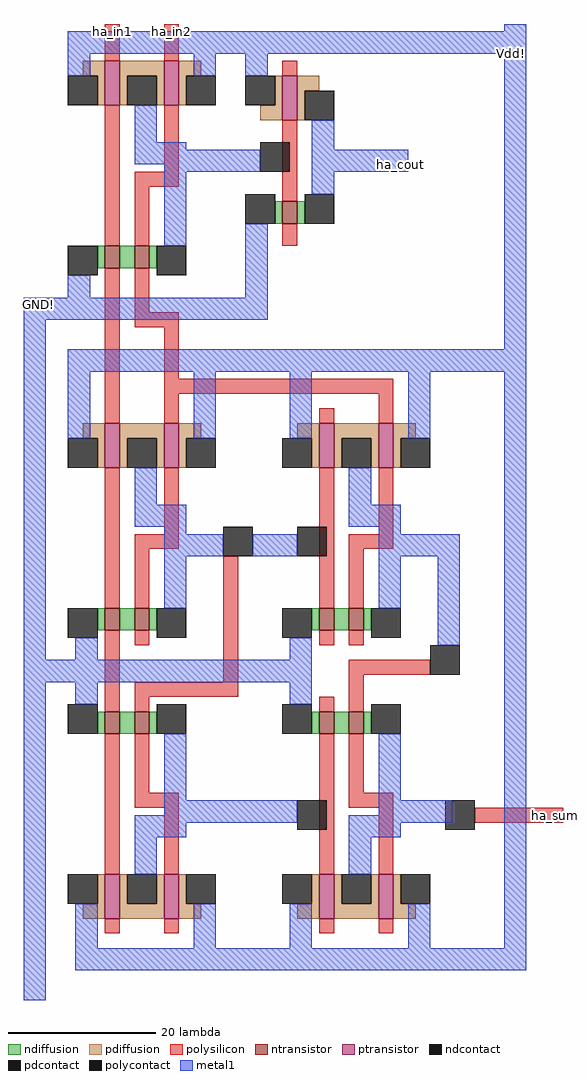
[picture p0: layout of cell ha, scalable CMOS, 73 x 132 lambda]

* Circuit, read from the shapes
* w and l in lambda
.subckt ha GND! Vdd! ha_cout ha_in1 ha_in2 ha_sum
M1 n1 ha_in1 GND! VSUBS nfet w=3 l=2
M2 n2 ha_in1 GND! VSUBS nfet w=3 l=2
M3 n3 ha_in1 GND! VSUBS nfet w=3 l=2
M4 xor2_0/nand2_4/nand_in1 xor2_0/nand2_2/nand_in1 n1 VSUBS nfet w=3 l=2
M5 xor2_0/nand2_2/nand_in1 ha_in2 n2 VSUBS nfet w=3 l=2
M6 nand2_0/nand_out ha_in2 n3 VSUBS nfet w=3 l=2
M7 ha_cout nand2_0/nand_out GND! VSUBS nfet w=3 l=2
M8 n4 xor2_0/nand2_4/nand_in1 GND! VSUBS nfet w=3 l=2
M9 n5 xor2_0/nand2_2/nand_in1 GND! VSUBS nfet w=3 l=2
M10 ha_sum xor2_0/nand2_4/nand_in2 n4 VSUBS nfet w=3 l=2
M11 xor2_0/nand2_4/nand_in2 ha_in2 n5 VSUBS nfet w=3 l=2
M12 xor2_0/nand2_4/nand_in1 ha_in1 Vdd! NWELL pfet w=6 l=2
M13 xor2_0/nand2_2/nand_in1 ha_in1 Vdd! NWELL pfet w=6 l=2
M14 nand2_0/nand_out ha_in1 Vdd! NWELL pfet w=6 l=2
M15 Vdd! xor2_0/nand2_2/nand_in1 xor2_0/nand2_4/nand_in1 NWELL pfet w=6 l=2
M16 Vdd! ha_in2 xor2_0/nand2_2/nand_in1 NWELL pfet w=6 l=2
M17 Vdd! ha_in2 nand2_0/nand_out NWELL pfet w=6 l=2
M18 ha_cout nand2_0/nand_out Vdd! NWELL pfet w=6 l=2
M19 ha_sum xor2_0/nand2_4/nand_in1 Vdd! NWELL pfet w=6 l=2
M20 xor2_0/nand2_4/nand_in2 xor2_0/nand2_2/nand_in1 Vdd! NWELL pfet w=6 l=2
M21 Vdd! xor2_0/nand2_4/nand_in2 ha_sum NWELL pfet w=6 l=2
M22 Vdd! ha_in2 xor2_0/nand2_4/nand_in2 NWELL pfet w=6 l=2
.ends

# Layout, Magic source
magic
tech scmos
<< polysilicon >>
rect 11 129 13 132
rect 19 129 21 132
rect 11 91 13 97
rect 15 93 17 97
rect 15 91 21 93
rect 61 24 73 26
<< metal1 >>
rect 65 131 68 132
rect 6 128 68 131
rect 6 125 9 128
rect 23 125 26 128
rect 30 125 33 128
rect 22 112 32 115
rect 42 112 52 115
rect 6 95 9 98
rect 30 95 33 105
rect 0 92 33 95
rect 0 0 3 92
rect 65 88 68 128
<< polycontact >>
rect 32 112 36 116
rect 57 23 61 27
use nand2 nand2_0
transform 1 0 50 0 1 105
box -44 -8 -24 24
use not1 not1_0
transform 1 0 35 0 1 112
box -5 -10 7 15
use xor2 xor2_0
transform 1 0 47 0 1 62
box -47 -62 21 29
<< labels >>
rlabel polysilicon 12 131 12 131 5 ha_in1
rlabel polysilicon 20 131 20 131 5 ha_in2
rlabel polysilicon 72 25 72 25 7 ha_sum
rlabel metal1 51 113 51 113 7 ha_cout
rlabel metal1 66 128 66 128 5 Vdd!
rlabel metal1 2 94 2 94 3 GND!
<< end >>

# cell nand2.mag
magic
tech scmos
<< polysilicon >>
rect -39 22 -37 24
rect -31 22 -29 24
rect -39 -3 -37 16
rect -31 7 -29 16
rect -35 5 -29 7
rect -35 -3 -33 5
rect -39 -8 -37 -6
rect -35 -8 -33 -6
<< ndiffusion >>
rect -40 -6 -39 -3
rect -37 -6 -35 -3
rect -33 -6 -32 -3
<< pdiffusion >>
rect -42 20 -39 22
rect -40 16 -39 20
rect -37 20 -31 22
rect -37 16 -36 20
rect -32 16 -31 20
rect -29 20 -26 22
rect -29 16 -28 20
<< metal1 >>
rect -35 11 -32 16
rect -35 8 -28 11
rect -31 -3 -28 8
<< ntransistor >>
rect -39 -6 -37 -3
rect -35 -6 -33 -3
<< ptransistor >>
rect -39 16 -37 22
rect -31 16 -29 22
<< ndcontact >>
rect -44 -7 -40 -3
rect -32 -7 -28 -3
<< pdcontact >>
rect -44 16 -40 20
rect -36 16 -32 20
rect -28 16 -24 20
<< labels >>
rlabel ndcontact -42 -5 -42 -5 4 GND!
rlabel pdcontact -42 18 -42 18 3 Vdd!
rlabel polysilicon -38 2 -38 2 1 nand_in1
rlabel polysilicon -34 2 -34 2 1 nand_in2
rlabel metal1 -30 2 -30 2 1 nand_out
rlabel pdcontact -26 18 -26 18 3 Vdd!
<< end >>

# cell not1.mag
magic
tech scmos
<< polysilicon >>
rect 0 13 2 15
rect 0 -4 2 7
rect 0 -10 2 -7
<< ndiffusion >>
rect -1 -7 0 -4
rect 2 -7 3 -4
<< pdiffusion >>
rect -1 9 0 13
rect -3 7 0 9
rect 2 11 5 13
rect 2 7 3 11
<< metal1 >>
rect 4 -3 7 7
<< ntransistor >>
rect 0 -7 2 -4
<< ptransistor >>
rect 0 7 2 13
<< ndcontact >>
rect -5 -7 -1 -3
rect 3 -7 7 -3
<< pdcontact >>
rect -5 9 -1 13
rect 3 7 7 11
<< labels >>
rlabel pdcontact -3 11 -3 11 1 Vdd
rlabel ndcontact -3 -5 -3 -5 1 GND
rlabel polysilicon 1 0 1 0 1 not_in
rlabel metal1 5 1 5 1 7 not_out
<< end >>

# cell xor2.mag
magic
tech scmos
<< polysilicon >>
rect -36 18 -34 29
rect -28 22 -26 29
rect -28 20 3 22
rect -28 18 -26 20
rect 1 18 3 20
rect -36 -21 -34 -14
rect -20 -19 -18 -2
rect -32 -21 -18 -19
rect -3 -18 8 -16
rect -3 -21 -1 -18
<< metal1 >>
rect -41 23 21 26
rect -41 14 -38 23
rect -24 14 -21 23
rect -11 14 -8 23
rect 5 14 8 23
rect -25 -2 -20 1
rect -16 -2 -10 1
rect 4 -2 12 1
rect -40 -16 -37 -13
rect -11 -16 -8 -13
rect 9 -14 12 -2
rect -47 -19 -8 -16
rect -47 -62 -44 -19
rect -40 -22 -37 -19
rect -11 -22 -8 -19
rect -25 -38 -10 -35
rect 4 -38 11 -35
rect -40 -55 -37 -49
rect -24 -55 -21 -49
rect -11 -55 -8 -49
rect 5 -55 8 -49
rect 18 -55 21 23
rect -40 -58 21 -55
<< polycontact >>
rect -20 -2 -16 2
rect -10 -2 -6 2
rect 8 -18 12 -14
rect -10 -39 -6 -35
use nand2 nand2_1
transform 1 0 3 0 1 -6
box -44 -8 -24 24
use nand2 nand2_2
transform 1 0 32 0 1 -6
box -44 -8 -24 24
use nand2 nand2_3
transform 1 0 3 0 -1 -29
box -44 -8 -24 24
use nand2 nand2_4
transform 1 0 32 0 -1 -29
box -44 -8 -24 24
<< labels >>
rlabel polysilicon -27 27 -27 27 1 xor_in2
rlabel metal1 19 -17 19 -17 1 Vdd!
rlabel metal1 -46 -60 -46 -60 1 GND!
rlabel metal1 10 -37 10 -37 1 xor_out
rlabel polysilicon -35 27 -35 27 5 xor_in1
<< end >>
